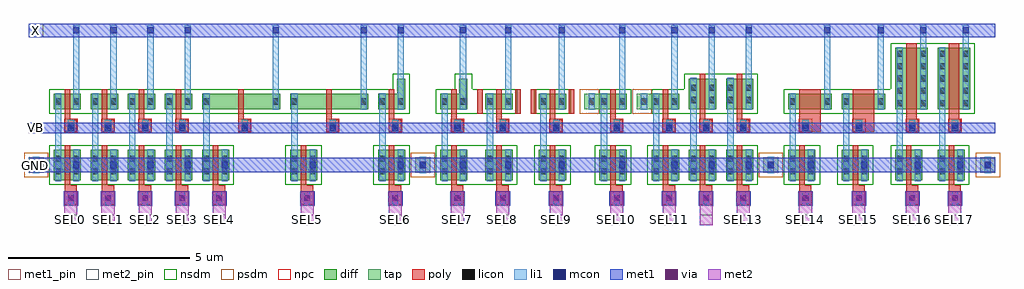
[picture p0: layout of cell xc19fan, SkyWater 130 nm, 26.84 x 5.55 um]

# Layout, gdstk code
import gdstk
lib = gdstk.Library(unit=1e-6, precision=1e-09)
def R(c, l, rs):  # rectangles x0, y0, x1, y1
    for r in rs: c.add(gdstk.rectangle(r[:2], r[2:], *l))
def A(c, l, x, y, w, h, nx, ny, dx, dy):  # array of equal rectangles
    R(c, l, [(x+i*dx, y+j*dy, x+i*dx+w, y+j*dy+h) for i in range(nx) for j in range(ny)])
diff = (65, 20)
tap = (65, 44)
poly = (66, 20)
licon = (66, 44)
li1 = (67, 20)
mcon = (67, 44)
met1_pin = (68, 16)
met1 = (68, 20)
via = (68, 44)
met2_pin = (69, 16)
met2 = (69, 20)
nsdm = (93, 44)
psdm = (94, 20)
npc = (95, 20)

xc19fan = lib.new_cell('xc19fan')
A(xc19fan, diff, 0.69, -1.96, 0.75, 0.84, 5, 1, 1.02, 0)
A(xc19fan, diff, 17.14, -1.96, 0.75, 0.84, 3, 1, 1.02, 0)
A(xc19fan, diff, 20.89, -1.96, 0.75, 0.84, 3, 1, 1.47, 0)
A(xc19fan, diff, 0.69, 0, 0.75, 0.42, 4, 1, 1.02, 0)
R(xc19fan, diff, [(7.19,-1.96,7.94,-1.12), (9.61,-1.96,10.36,-1.12), (11.32,-1.96,12.07,-1.12), (12.565,-1.96,13.315,-1.12), (14.035,-1.96,14.785,-1.12), (15.7,-1.96,16.45,-1.12), (25,-1.96,25.75,-1.12), (4.77,0,6.92,0.42), (7.19,0,9.34,0.42), (9.61,0,10.36,0.42), (11.32,0,12.07,0.42), (12.565,0,13.315,0.42), (14.035,0,14.785,0.42), (15.7,0,16.45,0.42), (17.14,0,17.89,0.42), (18.16,0,18.91,0.84), (19.18,0,19.93,0.84), (20.89,0,22.09,0.42), (22.36,0,23.56,0.42), (23.83,0,24.73,1.68), (25,0,25.9,1.68), (10.135,0.42,10.36,0.84), (11.845,0.42,12.07,0.84)])
R(xc19fan, tap, [(0,-1.75,0.42,-1.33), (10.63,-1.75,11.05,-1.33), (20.2,-1.75,20.62,-1.33), (26.17,-1.75,26.59,-1.33), (15.28,0,15.7,0.42), (16.72,0,17.14,0.42)])
A(xc19fan, poly, 0.99, -2.62, 0.34, 0.53, 5, 1, 1.02, 0)
A(xc19fan, poly, 17.44, -2.62, 0.34, 0.53, 3, 1, 1.02, 0)
A(xc19fan, poly, 21.19, -2.62, 0.34, 0.53, 3, 1, 1.47, 0)
A(xc19fan, poly, 0.99, -2.09, 0.15, 1.1, 5, 1, 1.02, 0)
A(xc19fan, poly, 17.44, -2.09, 0.15, 1.1, 3, 1, 1.02, 0)
A(xc19fan, poly, 21.19, -2.09, 0.15, 1.1, 3, 1, 1.47, 0)
A(xc19fan, poly, 0.99, -0.62, 0.34, 0.33, 4, 1, 1.02, 0)
A(xc19fan, poly, 17.44, -0.62, 0.34, 0.33, 3, 1, 1.02, 0)
A(xc19fan, poly, 0.99, -0.29, 0.15, 0.84, 4, 1, 1.02, 0)
R(xc19fan, poly, [(7.49,-2.62,7.83,-2.09), (9.91,-2.62,10.25,-2.09), (11.62,-2.62,11.96,-2.09), (12.865,-2.62,13.205,-2.09), (14.335,-2.62,14.675,-2.09), (16,-2.62,16.34,-2.09), (25.3,-2.62,25.64,-2.09), (7.49,-2.09,7.64,-0.99), (9.91,-2.09,10.06,-0.99), (11.62,-2.09,11.77,-0.99), (12.865,-2.09,13.015,-0.99), (14.335,-2.09,14.485,-0.99), (16,-2.09,16.15,-0.99), (25.3,-2.09,25.45,-0.99), (5.77,-0.62,6.11,-0.29), (8.19,-0.62,8.53,-0.29), (9.91,-0.62,10.25,-0.29), (11.62,-0.62,11.96,-0.29), (12.865,-0.62,13.205,-0.29), (14.335,-0.62,14.675,-0.29), (16,-0.62,16.34,-0.29), (21.19,-0.62,21.79,0.55), (22.66,-0.62,23.26,0.55), (24.13,-0.62,24.47,-0.29), (25.3,-0.62,25.64,-0.29), (5.77,-0.29,5.92,0.55), (8.19,-0.29,8.34,0.55), (9.91,-0.29,10.06,0.55), (11.62,-0.29,11.77,0.55), (12.865,-0.29,13.015,0.55), (14.335,-0.29,14.485,0.55), (16,-0.29,16.15,0.55), (17.44,-0.29,17.59,0.55), (18.46,-0.29,18.61,0.97), (19.48,-0.29,19.63,0.97), (24.13,-0.29,24.43,1.81), (25.3,-0.29,25.6,1.81), (12.34,-0.13,12.49,0.55), (13.39,-0.13,13.54,0.55), (13.81,-0.13,13.96,0.55), (14.86,-0.13,15.01,0.55)])
A(xc19fan, licon, 1.08, -2.54, 0.17, 0.17, 5, 1, 1.02, 0)
A(xc19fan, licon, 17.53, -2.54, 0.17, 0.17, 3, 2, 1.02, 2)
A(xc19fan, licon, 21.28, -2.54, 0.17, 0.17, 3, 2, 1.47, 2)
A(xc19fan, licon, 1.08, -0.54, 0.17, 0.17, 4, 1, 1.02, 0)
A(xc19fan, licon, 23.87, 0.075, 0.17, 0.17, 1, 5, 0, 0.34)
A(xc19fan, licon, 24.52, 0.075, 0.17, 0.17, 1, 5, 0, 0.34)
A(xc19fan, licon, 25.04, 0.075, 0.17, 0.17, 1, 5, 0, 0.34)
A(xc19fan, licon, 25.69, 0.075, 0.17, 0.17, 1, 5, 0, 0.34)
R(xc19fan, licon, [(7.58,-2.54,7.75,-2.37), (10,-2.54,10.17,-2.37), (11.71,-2.54,11.88,-2.37), (12.955,-2.54,13.125,-2.37), (14.425,-2.54,14.595,-2.37), (16.09,-2.54,16.26,-2.37), (25.39,-2.54,25.56,-2.37), (0.73,-1.795,0.9,-1.625), (1.23,-1.795,1.4,-1.625), (1.75,-1.795,1.92,-1.625), (2.25,-1.795,2.42,-1.625), (2.77,-1.795,2.94,-1.625), (3.27,-1.795,3.44,-1.625), (3.79,-1.795,3.96,-1.625), (4.29,-1.795,4.46,-1.625), (4.81,-1.795,4.98,-1.625), (5.31,-1.795,5.48,-1.625), (7.23,-1.795,7.4,-1.625), (7.73,-1.795,7.9,-1.625), (9.65,-1.795,9.82,-1.625), (10.15,-1.795,10.32,-1.625), (11.36,-1.795,11.53,-1.625), (11.86,-1.795,12.03,-1.625), (12.605,-1.795,12.775,-1.625), (13.105,-1.795,13.275,-1.625), (14.075,-1.795,14.245,-1.625), (14.575,-1.795,14.745,-1.625), (15.74,-1.795,15.91,-1.625), (16.24,-1.795,16.41,-1.625), (17.18,-1.795,17.35,-1.625), (17.68,-1.795,17.85,-1.625), (18.2,-1.795,18.37,-1.625), (18.7,-1.795,18.87,-1.625), (19.22,-1.795,19.39,-1.625), (19.72,-1.795,19.89,-1.625), (20.93,-1.795,21.1,-1.625), (21.43,-1.795,21.6,-1.625), (22.4,-1.795,22.57,-1.625), (22.9,-1.795,23.07,-1.625), (23.87,-1.795,24.04,-1.625), (24.37,-1.795,24.54,-1.625), (25.04,-1.795,25.21,-1.625), (25.54,-1.795,25.71,-1.625), (0.125,-1.625,0.295,-1.455), (10.755,-1.625,10.925,-1.455), (20.325,-1.625,20.495,-1.455), (26.295,-1.625,26.465,-1.455), (0.73,-1.455,0.9,-1.285), (1.23,-1.455,1.4,-1.285), (1.75,-1.455,1.92,-1.285), (2.25,-1.455,2.42,-1.285), (2.77,-1.455,2.94,-1.285), (3.27,-1.455,3.44,-1.285), (3.79,-1.455,3.96,-1.285), (4.29,-1.455,4.46,-1.285), (4.81,-1.455,4.98,-1.285), (5.31,-1.455,5.48,-1.285), (7.23,-1.455,7.4,-1.285), (7.73,-1.455,7.9,-1.285), (9.65,-1.455,9.82,-1.285), (10.15,-1.455,10.32,-1.285), (11.36,-1.455,11.53,-1.285), (11.86,-1.455,12.03,-1.285), (12.605,-1.455,12.775,-1.285), (13.105,-1.455,13.275,-1.285), (14.075,-1.455,14.245,-1.285), (14.575,-1.455,14.745,-1.285), (15.74,-1.455,15.91,-1.285), (16.24,-1.455,16.41,-1.285), (17.18,-1.455,17.35,-1.285), (17.68,-1.455,17.85,-1.285), (18.2,-1.455,18.37,-1.285), (18.7,-1.455,18.87,-1.285), (19.22,-1.455,19.39,-1.285), (19.72,-1.455,19.89,-1.285), (20.93,-1.455,21.1,-1.285), (21.43,-1.455,21.6,-1.285), (22.4,-1.455,22.57,-1.285), (22.9,-1.455,23.07,-1.285), (23.87,-1.455,24.04,-1.285), (24.37,-1.455,24.54,-1.285), (25.04,-1.455,25.21,-1.285), (25.54,-1.455,25.71,-1.285), (5.86,-0.54,6.03,-0.37), (8.28,-0.54,8.45,-0.37), (10,-0.54,10.17,-0.37), (11.71,-0.54,11.88,-0.37), (12.955,-0.54,13.125,-0.37), (14.425,-0.54,14.595,-0.37), (16.09,-0.54,16.26,-0.37), (25.39,-0.54,25.56,-0.37), (0.73,0.125,0.9,0.295), (1.23,0.125,1.4,0.295), (1.75,0.125,1.92,0.295), (2.25,0.125,2.42,0.295), (2.77,0.125,2.94,0.295), (3.27,0.125,3.44,0.295), (3.79,0.125,3.96,0.295), (4.29,0.125,4.46,0.295), (4.81,0.125,4.98,0.295), (6.71,0.125,6.88,0.295), (7.23,0.125,7.4,0.295), (9.13,0.125,9.3,0.295), (9.65,0.125,9.82,0.295), (10.15,0.125,10.32,0.295), (11.36,0.125,11.53,0.295), (11.86,0.125,12.03,0.295), (12.605,0.125,12.775,0.295), (13.105,0.125,13.275,0.295), (14.075,0.125,14.245,0.295), (14.575,0.125,14.745,0.295), (15.4,0.125,15.57,0.295), (15.74,0.125,15.91,0.295), (16.24,0.125,16.41,0.295), (16.84,0.125,17.01,0.295), (17.18,0.125,17.35,0.295), (17.68,0.125,17.85,0.295), (20.93,0.125,21.1,0.295), (21.88,0.125,22.05,0.295), (22.4,0.125,22.57,0.295), (23.35,0.125,23.52,0.295), (18.2,0.165,18.37,0.335), (18.7,0.165,18.87,0.335), (19.22,0.165,19.39,0.335), (19.72,0.165,19.89,0.335), (18.2,0.505,18.37,0.675), (18.7,0.505,18.87,0.675), (19.22,0.505,19.39,0.675), (19.72,0.505,19.89,0.675)])
A(xc19fan, li1, 1.08, -2.62, 0.17, 0.33, 5, 1, 1.02, 0)
A(xc19fan, li1, 17.53, -2.62, 0.17, 0.33, 3, 2, 1.02, 2)
A(xc19fan, li1, 21.28, -2.62, 0.17, 0.33, 3, 2, 1.47, 2)
A(xc19fan, li1, 0.73, -1.98, 0.17, 2.42, 5, 1, 1.02, 0)
A(xc19fan, li1, 1.23, -1.98, 0.17, 0.88, 5, 1, 1.02, 0)
A(xc19fan, li1, 17.68, -1.98, 0.17, 0.88, 3, 1, 1.02, 0)
A(xc19fan, li1, 21.43, -1.98, 0.17, 0.88, 3, 1, 1.47, 0)
A(xc19fan, li1, 1.08, -0.62, 0.17, 0.33, 4, 1, 1.02, 0)
A(xc19fan, li1, 1.23, -0.02, 0.17, 2.33, 4, 1, 1.02, 0)
A(xc19fan, li1, 17.68, -0.02, 0.17, 2.33, 3, 1, 1.02, 0)
A(xc19fan, li1, 23.35, -0.02, 0.17, 2.33, 3, 1, 1.17, 0)
R(xc19fan, li1, [(7.58,-2.62,7.75,-2.29), (10,-2.62,10.17,-2.29), (11.71,-2.62,11.88,-2.29), (12.955,-2.62,13.125,-2.29), (14.425,-2.62,14.595,-2.29), (16.09,-2.62,16.26,-2.29), (25.39,-2.62,25.56,-2.29), (7.23,-1.98,7.4,0.44), (7.73,-1.98,7.9,-1.1), (9.65,-1.98,9.82,0.44), (10.15,-1.98,10.32,-1.1), (11.36,-1.98,11.53,0.44), (11.86,-1.98,12.03,-1.1), (12.605,-1.98,12.775,0.44), (13.105,-1.98,13.275,-1.1), (14.075,-1.98,14.245,0.44), (14.575,-1.98,14.745,-1.1), (15.74,-1.98,15.91,0.44), (16.24,-1.98,16.41,-1.1), (17.18,-1.98,17.35,0.44), (18.2,-1.98,18.37,0.86), (19.22,-1.98,19.39,0.86), (20.93,-1.98,21.1,0.44), (22.4,-1.98,22.57,0.44), (23.87,-1.98,24.04,1.7), (25.04,-1.98,25.21,1.7), (25.54,-1.98,25.71,-1.1), (0.125,-1.77,0.295,-1.31), (10.755,-1.77,10.925,-1.31), (20.325,-1.77,20.495,-1.31), (26.295,-1.77,26.465,-1.31), (5.86,-0.62,6.03,-0.29), (8.28,-0.62,8.45,-0.29), (10,-0.62,10.17,-0.29), (11.71,-0.62,11.88,-0.29), (12.955,-0.62,13.125,-0.29), (14.425,-0.62,14.595,-0.29), (16.09,-0.62,16.26,-0.29), (25.39,-0.62,25.56,-0.29), (6.71,-0.02,6.88,2.31), (9.13,-0.02,9.3,2.31), (10.15,-0.02,10.32,2.31), (11.86,-0.02,12.03,2.31), (13.105,-0.02,13.275,2.31), (14.575,-0.02,14.745,2.31), (15.4,-0.02,15.57,0.44), (16.24,-0.02,16.41,2.31), (16.84,-0.02,17.01,0.44), (21.88,-0.02,22.05,2.31)])
A(xc19fan, mcon, 1.08, -2.54, 0.17, 0.17, 5, 1, 1.02, 0)
A(xc19fan, mcon, 17.53, -2.54, 0.17, 0.17, 3, 2, 1.02, 1.94)
A(xc19fan, mcon, 21.28, -2.54, 0.17, 0.17, 3, 2, 1.47, 1.94)
A(xc19fan, mcon, 1.23, -1.625, 0.17, 0.17, 5, 1, 1.02, 0)
A(xc19fan, mcon, 17.68, -1.625, 0.17, 0.17, 3, 2, 1.02, 3.705)
A(xc19fan, mcon, 21.43, -1.625, 0.17, 0.17, 3, 1, 1.47, 0)
A(xc19fan, mcon, 1.08, -0.6, 0.17, 0.17, 4, 1, 1.02, 0)
A(xc19fan, mcon, 1.23, 2.08, 0.17, 0.17, 4, 1, 1.02, 0)
A(xc19fan, mcon, 23.35, 2.08, 0.17, 0.17, 3, 1, 1.17, 0)
R(xc19fan, mcon, [(7.58,-2.54,7.75,-2.37), (10,-2.54,10.17,-2.37), (11.71,-2.54,11.88,-2.37), (12.955,-2.54,13.125,-2.37), (14.425,-2.54,14.595,-2.37), (16.09,-2.54,16.26,-2.37), (25.39,-2.54,25.56,-2.37), (0.125,-1.625,0.295,-1.455), (7.73,-1.625,7.9,-1.455), (10.15,-1.625,10.32,-1.455), (10.755,-1.625,10.925,-1.455), (11.86,-1.625,12.03,-1.455), (13.105,-1.625,13.275,-1.455), (14.575,-1.625,14.745,-1.455), (16.24,-1.625,16.41,-1.455), (20.325,-1.625,20.495,-1.455), (25.54,-1.625,25.71,-1.455), (26.295,-1.625,26.465,-1.455), (5.86,-0.6,6.03,-0.43), (8.28,-0.6,8.45,-0.43), (10,-0.6,10.17,-0.43), (11.71,-0.6,11.88,-0.43), (12.955,-0.6,13.125,-0.43), (14.425,-0.6,14.595,-0.43), (16.09,-0.6,16.26,-0.43), (25.39,-0.6,25.56,-0.43), (6.71,2.08,6.88,2.25), (9.13,2.08,9.3,2.25), (10.15,2.08,10.32,2.25), (11.86,2.08,12.03,2.25), (13.105,2.08,13.275,2.25), (14.575,2.08,14.745,2.25), (16.24,2.08,16.41,2.25), (21.88,2.08,22.05,2.25)])
R(xc19fan, met1_pin, [(0,-1.74,0.4,-1.34), (0,-0.66,0.4,-0.37), (0,1.98,0.4,2.35)])
A(xc19fan, met1, 0.965, -2.655, 0.4, 0.4, 5, 1, 1.02, 0)
A(xc19fan, met1, 17.415, -2.655, 0.4, 0.4, 3, 1, 1.02, 0)
A(xc19fan, met1, 21.165, -2.655, 0.4, 0.4, 3, 1, 1.47, 0)
R(xc19fan, met1, [(7.465,-2.655,7.865,-2.255), (9.885,-2.655,10.285,-2.255), (11.595,-2.655,11.995,-2.255), (12.84,-2.655,13.24,-2.255), (14.31,-2.655,14.71,-2.255), (15.975,-2.655,16.375,-2.255), (25.275,-2.655,25.675,-2.255), (0,-1.74,26.59,-1.34), (0,-0.66,26.59,-0.37), (0,1.98,26.59,2.35)])
A(xc19fan, via, 1.09, -2.53, 0.15, 0.15, 5, 1, 1.02, 0)
A(xc19fan, via, 17.54, -2.53, 0.15, 0.15, 3, 1, 1.02, 0)
A(xc19fan, via, 21.29, -2.53, 0.15, 0.15, 3, 1, 1.47, 0)
R(xc19fan, via, [(7.59,-2.53,7.74,-2.38), (10.01,-2.53,10.16,-2.38), (11.72,-2.53,11.87,-2.38), (12.965,-2.53,13.115,-2.38), (14.435,-2.53,14.585,-2.38), (16.1,-2.53,16.25,-2.38), (25.4,-2.53,25.55,-2.38)])
A(xc19fan, met2_pin, 0.985, -3.2, 0.36, 0.3, 5, 1, 1.02, 0)
A(xc19fan, met2_pin, 17.435, -3.2, 0.36, 0.3, 3, 1, 1.02, 0)
A(xc19fan, met2_pin, 21.185, -3.2, 0.36, 0.3, 3, 1, 1.47, 0)
R(xc19fan, met2_pin, [(7.485,-3.2,7.845,-2.9), (9.905,-3.2,10.265,-2.9), (11.615,-3.2,11.975,-2.9), (12.86,-3.2,13.22,-2.9), (14.33,-3.2,14.69,-2.9), (15.995,-3.2,16.355,-2.9), (25.295,-3.2,25.655,-2.9)])
A(xc19fan, met2, 0.985, -3.2, 0.36, 0.925, 5, 1, 1.02, 0)
A(xc19fan, met2, 17.435, -3.2, 0.36, 0.925, 3, 1, 1.02, 0)
A(xc19fan, met2, 21.185, -3.2, 0.36, 0.925, 3, 1, 1.47, 0)
R(xc19fan, met2, [(7.485,-3.2,7.845,-2.275), (9.905,-3.2,10.265,-2.275), (11.615,-3.2,11.975,-2.275), (12.86,-3.2,13.22,-2.275), (14.33,-3.2,14.69,-2.275), (15.995,-3.2,16.355,-2.275), (25.295,-3.2,25.655,-2.275)])
R(xc19fan, nsdm, [(0.565,-2.085,5.645,-0.995), (7.065,-2.085,8.065,-0.995), (9.485,-2.085,10.485,-0.995), (11.195,-2.085,13.44,-0.995), (13.91,-2.085,14.91,-0.995), (15.575,-2.085,16.575,-0.995), (17.015,-2.085,20.055,-0.995), (20.765,-2.085,21.765,-0.995), (22.235,-2.085,23.235,-0.995), (23.705,-2.085,25.875,-0.995), (0.565,-0.125,10.485,0.545), (11.195,-0.125,13.44,0.545), (13.91,-0.125,14.91,0.545), (15.7,-0.125,16.575,0.545), (17.14,-0.125,20.055,0.545), (20.765,-0.125,26.025,0.545), (10.01,0.545,10.485,0.965), (11.72,0.545,12.195,0.965), (18.035,0.545,20.055,0.965), (23.705,0.545,26.025,1.805)])
R(xc19fan, psdm, [(-0.125,-1.875,0.545,-1.205), (10.505,-1.875,11.175,-1.205), (20.075,-1.875,20.745,-1.205), (26.045,-1.875,26.715,-1.205), (15.155,-0.125,15.7,0.545), (16.595,-0.125,17.14,0.545)])
A(xc19fan, npc, 0.98, -2.64, 0.37, 0.37, 5, 1, 1.02, 0)
A(xc19fan, npc, 17.43, -2.64, 0.37, 0.37, 3, 2, 1.02, 2)
A(xc19fan, npc, 21.18, -2.64, 0.37, 0.37, 3, 2, 1.47, 2)
A(xc19fan, npc, 0.98, -0.64, 0.37, 0.37, 4, 1, 1.02, 0)
R(xc19fan, npc, [(7.48,-2.64,7.85,-2.27), (9.9,-2.64,10.27,-2.27), (11.61,-2.64,11.98,-2.27), (12.855,-2.64,13.225,-2.27), (14.325,-2.64,14.695,-2.27), (15.99,-2.64,16.36,-2.27), (25.29,-2.64,25.66,-2.27), (5.76,-0.64,6.13,-0.27), (8.18,-0.64,8.55,-0.27), (9.9,-0.64,10.27,-0.27), (11.61,-0.64,11.98,-0.27), (12.855,-0.64,13.225,-0.27), (14.325,-0.64,14.695,-0.27), (15.99,-0.64,16.36,-0.27), (25.29,-0.64,25.66,-0.27)])
xc19fan.add(gdstk.Label('SEL0', (1.165,-3.05), layer=69, texttype=5))
xc19fan.add(gdstk.Label('SEL1', (2.185,-3.05), layer=69, texttype=5))
xc19fan.add(gdstk.Label('SEL2', (3.205,-3.05), layer=69, texttype=5))
xc19fan.add(gdstk.Label('SEL3', (4.225,-3.05), layer=69, texttype=5))
xc19fan.add(gdstk.Label('SEL4', (5.245,-3.05), layer=69, texttype=5))
xc19fan.add(gdstk.Label('SEL5', (7.665,-3.05), layer=69, texttype=5))
xc19fan.add(gdstk.Label('SEL6', (10.085,-3.05), layer=69, texttype=5))
xc19fan.add(gdstk.Label('SEL7', (11.795,-3.05), layer=69, texttype=5))
xc19fan.add(gdstk.Label('SEL8', (13.04,-3.05), layer=69, texttype=5))
xc19fan.add(gdstk.Label('SEL9', (14.51,-3.05), layer=69, texttype=5))
xc19fan.add(gdstk.Label('SEL10', (16.175,-3.05), layer=69, texttype=5))
xc19fan.add(gdstk.Label('SEL11', (17.615,-3.05), layer=69, texttype=5))
xc19fan.add(gdstk.Label('SEL12', (18.635,-3.05), layer=69, texttype=5))
xc19fan.add(gdstk.Label('SEL13', (19.655,-3.05), layer=69, texttype=5))
xc19fan.add(gdstk.Label('SEL14', (21.365,-3.05), layer=69, texttype=5))
xc19fan.add(gdstk.Label('SEL15', (22.835,-3.05), layer=69, texttype=5))
xc19fan.add(gdstk.Label('SEL16', (24.305,-3.05), layer=69, texttype=5))
xc19fan.add(gdstk.Label('SEL17', (25.475,-3.05), layer=69, texttype=5))
xc19fan.add(gdstk.Label('X', (0.2,2.165), layer=68, texttype=5))
xc19fan.add(gdstk.Label('VB', (0.2,-0.515), layer=68, texttype=5))
xc19fan.add(gdstk.Label('GND', (0.2,-1.54), layer=68, texttype=5))

lib.write_gds('xc19fan.gds')
